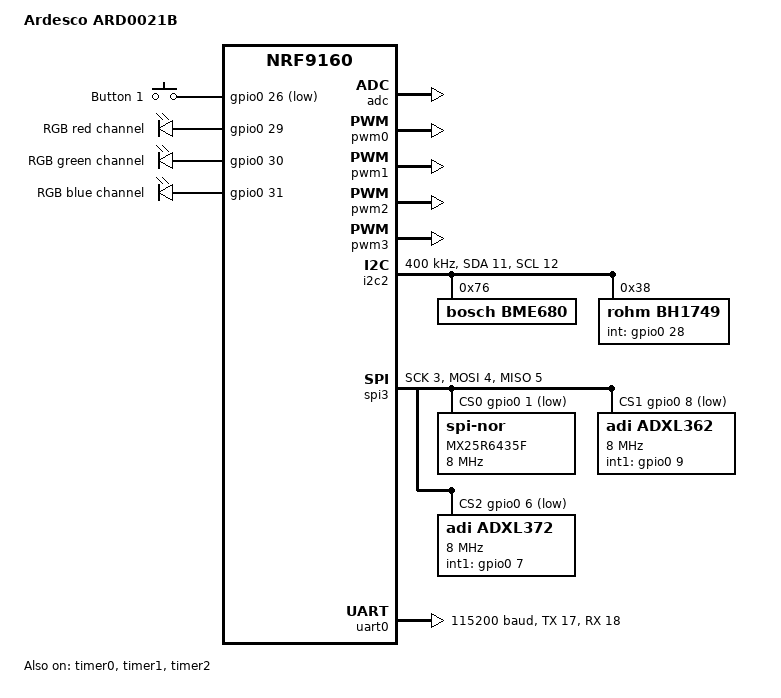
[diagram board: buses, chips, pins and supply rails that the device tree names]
/*
 * Copyright (c) 2019 Nordic Semiconductor ASA
 * Copyright (c) Ericsson AB 2020, all rights reserved
 *
 * SPDX-License-Identifier: LicenseRef-BSD-5-Clause-Nordic
 */

/ {
	model = "Ardesco ARD0021B";
	compatible = "nordic,pca20035";

	chosen {
		zephyr,console = &uart0;
		zephyr,shell-uart = &uart0;
		zephyr,uart-mcumgr = &uart0;
	};

	buttons {
		compatible = "gpio-keys";

		button0: button_0 {
			gpios = <&gpio0 26 (GPIO_PULL_UP | GPIO_ACTIVE_LOW)>;
			label = "Button 1";
		};
	};

	leds {
		compatible = "gpio-leds";
		red_led: led_1 {
			gpios = <&gpio0 29 0>;
			label = "RGB red channel";
		};
		green_led: led_2 {
			gpios = <&gpio0 30 0>;
			label = "RGB green channel";
		};
		blue_led: led_3 {
			gpios = <&gpio0 31 0>;
			label = "RGB blue channel";
		};
	};

	aliases {
		sw0 = &button0;
		led0 = &red_led;
		led1 = &green_led;
		led2 = &blue_led;
		rgb-pwm = &pwm0;
		buzzer-pwm = &pwm1;
	};
};

&adc {
	status = "okay";
};

&gpiote {
	status = "okay";
};

&gpio0 {
	status = "okay";
};

/* PWM0 is intended for RGB LED control */
&pwm0 {
	status = "okay";
	ch0-pin = <29>;
	ch1-pin = <30>;
	ch2-pin = <31>;
};

/* PWM1 is intended for buzzer control */
&pwm1 {
	status = "okay";
	ch0-pin = <27>;
};

/* PWM2 is intended for NMOS transistor control */
&pwm2 {
	status = "okay";
};

&pwm3 {
	status = "okay";
};

&i2c2 {
	compatible = "nordic,nrf-twim";
	status = "okay";
	sda-pin = <11>;
	scl-pin = <12>;
	clock-frequency = <I2C_BITRATE_FAST>;

	bme680@76 {
		compatible = "bosch,bme680";
		label = "BME680";
		reg = <0x76>;
	};

	bh1749@38 {
			compatible = "rohm,bh1749";
			label = "BH1749";
			reg = <0x38>;
			int-gpios = <&gpio0 28 0>;
	};
};

&spi3 {
	compatible = "nordic,nrf-spim";
	status = "okay";
	sck-pin = <3>;
	mosi-pin = <4>;
	miso-pin = <5>;
	/* cs-gpios = <&gpio0 1 0>, <&gpio0 8 0>, <&gpio0 6 0>; */
	cs-gpios = <&gpio0 1 (GPIO_PULL_UP | GPIO_ACTIVE_LOW)>, <&gpio0 8 (GPIO_PULL_UP | GPIO_ACTIVE_LOW)>, <&gpio0 6 (GPIO_PULL_UP | GPIO_ACTIVE_LOW)>;

	mx25r64: mx25r6435f@0 {
		compatible = "jedec,spi-nor";
		label = "MX25R6435F";
		spi-max-frequency = <8000000>;
		reg = <0>;
		/* spi-max-frequency = <104000000>; */
		/* wp-gpios = <&gpio0 3 0>; */
		/* reset-gpios = <&gpio0 0 0>; */
		size = <0x4000000>;
		/* has-be32k; */
		jedec-id = [c2 28 17];
	};

	adxl362@1 {
		compatible = "adi,adxl362";
		label = "ADXL362";
		spi-max-frequency = <8000000>;
		reg = <1>;
		int1-gpios = <&gpio0 9 0>;
	};

	adxl372@2 {
		compatible = "adi,adxl372";
		label = "ADXL372";
		spi-max-frequency = <8000000>;
		reg = <2>;
		int1-gpios = <&gpio0 7 0>;
	};

};

&timer0 {
	status = "okay";
};

&timer1 {
	status = "okay";
};

&timer2 {
	status = "okay";
};

&uart0 {
	current-speed = <115200>;
	status = "okay";
	tx-pin = <17>;
	rx-pin = <18>;
	rts-pin = <19>;
	cts-pin = <20>;
};

&flash0 {
	/*
	 * For more information, see:
	 * http://docs.zephyrproject.org/devices/dts/flash_partitions.html
	 */
	partitions {
		compatible = "fixed-partitions";
		#address-cells = <1>;
		#size-cells = <1>;

		boot_partition: partition@0 {
			label = "mcuboot";
			reg = <0x00000000 0x10000>;
		};
		slot0_partition: partition@10000 {
			label = "image-0";
		};
		slot0_ns_partition: partition@40000 {
			label = "image-0-nonsecure";
		};
		slot1_partition: partition@80000 {
			label = "image-1";
		};
		slot1_ns_partition: partition@b0000 {
			label = "image-1-nonsecure";
		};
		scratch_partition: partition@f0000 {
			label = "image-scratch";
			reg = <0x000f0000 0xa000>;
		};
		storage_partition: partition@fa000 {
			label = "storage";
			reg = <0x000fa000 0x00006000>;
		};
	};
};

/ {
	/* SRAM allocated and used by the partitions */
	reserved-memory {
		#address-cells = <1>;
		#size-cells = <1>;
		ranges;

		sram0_s: image_s@20000000 {
			/* Secure image memory */
		};

		sram0_bsd: image_bsd@20010000 {
			/* BSD (shared) memory */
		};

		sram0_ns: image_ns@20020000 {
			/* Non-Secure image memory */
		};
	};
};

/* Include partition configuration file */
#include "nrf9160_ard0021B_partition_conf.dts"
